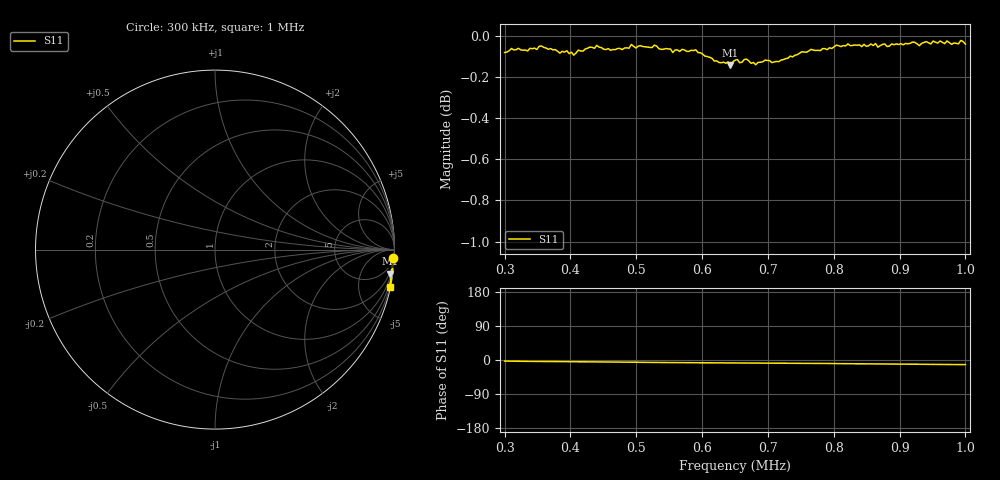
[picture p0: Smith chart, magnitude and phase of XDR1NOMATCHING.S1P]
!Agilent Technologies,E5071C,MY46100305,A.07.02
!Date: Fri Jan 01 00:25:44 1988
!Data & Calibration Information:
!Freq	S11:SOLT1(ON)
# Hz S MA R 50
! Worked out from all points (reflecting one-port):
!   201 points, 300 kHz to 1 MHz, reference 50 ohm
!   lowest |S11| = -0.1 dB at 643 kHz (marker M1), VSWR 121.99, Z = 86.9 - j721 ohm
!   phase of S11 starts at -3 deg and turns -9 deg over the sweep
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300000  0.9907 -2.8
314000  0.9921 -3.2
331500  0.9921 -3.4
356000  0.9943 -4.0
387500  0.9914 -4.4
405000  0.9892 -4.5
422500  0.9926 -4.7
447000  0.9934 -5.3
475000  0.993 -5.5
492500  0.9952 -5.7
548500  0.9927 -6.8
562500  0.9921 -6.8
590500  0.9922 -7.3
604500  0.9886 -7.6
643000  0.9837 -7.8
650000  0.9864 -7.8
667500  0.9871 -8.1
681500  0.9839 -8.1
737500  0.9882 -8.5
765500  0.9924 -8.9
793500  0.9933 -9.2
811000  0.994 -9.7
825000  0.9945 -9.8
877500  0.9955 -10.6
912500  0.9955 -10.9
919500  0.9965 -11.1
996500  0.9968 -12.3
1000000  0.9954 -12.2
